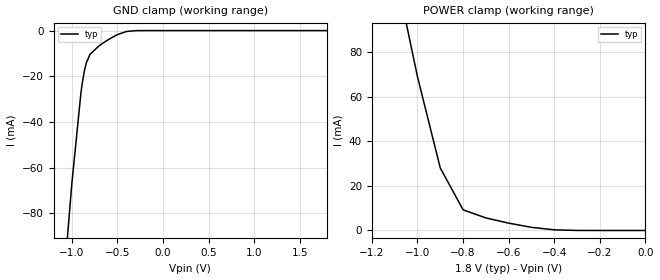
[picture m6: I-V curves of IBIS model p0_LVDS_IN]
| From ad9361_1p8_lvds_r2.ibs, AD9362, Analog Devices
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[model] p0_LVDS_IN
Model_type Input
Vinl = 0.63
Vinh = 1.17
C_comp 4pF NA NA
| variable   typ   min   max
[Voltage Range]   1.800V  NA   NA
[GND Clamp Reference]   0.000V  NA   NA
[POWER Clamp Reference] 1.800V  NA   NA
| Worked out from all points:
|   GND clamp passes 1 mA (typ) near -0.44 V on its own axis
|   POWER clamp passes 1 mA (typ) near -0.46 V on its own axis
[GND Clamp]
| Voltage  I(typ)   I(min)  I(max)
-1.8V     -497mA     NA         NA
-1.1V     -116mA     NA         NA
-1V       -67.3mA    NA         NA
-900mV    -27.5mA    NA         NA
-888mV    -23.8mA    NA         NA
-856mV    -16.7mA    NA         NA
-841mV    -14.2mA    NA         NA
-800mV    -10.4mA    NA         NA
-600mV    -3.98mA    NA         NA
-400mV    -401uA     NA         NA
-300mV    -24.2uA    NA         NA
1.8V      448pA      NA         NA
[POWER Clamp]
| Voltage  I(typ)   I(min)  I(max)
-1.8V     501mA      NA         NA
-1.1V     118mA      NA         NA
-1V       69.1mA     NA         NA
-900mV    28.1mA     NA         NA
-800mV    9.29mA     NA         NA
-700mV    5.64mA     NA         NA
-500mV    1.41mA     NA         NA
-400mV    291uA      NA         NA
0V        448pA      NA         NA
